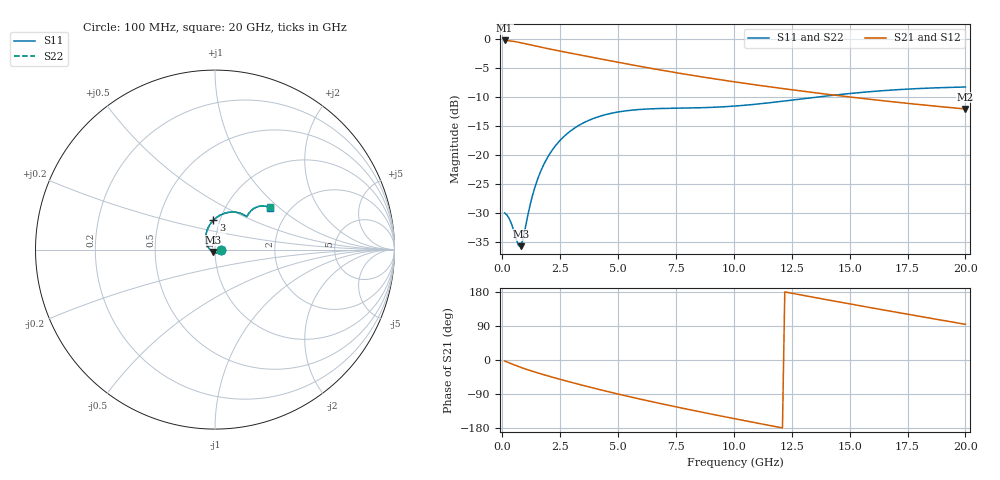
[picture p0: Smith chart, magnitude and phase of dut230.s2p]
! Touchstone file exported from HFSS 2023.1.0
!  File:  D:/Users/fzz/RDL_TSV/temp_RDL_TSV_230_1778758488.aedt
!  Generated:  7:47:11 %x4E0B%x5348  5%x6708 14, 2026
!  Design:  RDL_TSV
!  Project:  temp_RDL_TSV_230_1778758488
!  Setup:  Setup1
!  Solution:  Sweep
! Variables:
!  dtsv = 24.09um
!  hbump = 3um
!  htsv = 74.01um
!  ldown = 456.7um
!  lrdl = 392.26um
!  p = 40
!  p1 = 55.41um
!  rhole = 10um
!  subl = 2939.14um
!  t = 450um
!  tdown = 2.1um
!  trdl = 3.58um
!  viad = 10um
!  wdown = 12.7um
!  wrdl = 10.05um
!  xbump = 18um
# GHz S MA R 50.000000
! Terminal data exported
! Port[1] = TM1_1_T1
! Port[2] = TM1_4_T1
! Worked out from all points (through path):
!   200 points, 100 MHz to 20 GHz, reference 50 ohm
!   highest |S21| = -0.29 dB at 100 MHz (marker M1); lowest = -12.1 dB at 20 GHz (marker M2)
!   group delay of S21, straight-line fit = 35 ps
!   lowest |S11| = -35.7 dB at 800 MHz (marker M3), VSWR 1.03, Z = 49.1 - j1.34 ohm
!   |S11| at or under -10 dB: start of sweep to 13.67 GHz
!   |S22| runs from -35.7 to -8.3 dB; largest |S21 - S12| = 2.6e-13
!   S11 on the Smith chart (normalised r, x): 100 MHz: 1.06, -0.01; 3 GHz: 0.93, +0.31; 20 GHz: 1.59, +0.87
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0.1  0.03173 -8.5  0.9669 -2.6  0.9669 -2.6  0.03173 -8.5
! Gamma 0 0 0 0
! Port Impedance 50 0 50 0
0.3  0.02838 -27.7  0.96 -7.6  0.96 -7.6  0.02838 -27.7
0.4  0.0255 -39.2  0.9546 -10.1  0.9546 -10.1  0.0255 -39.2
0.7  0.0166 -95.0  0.9327 -17.1  0.9327 -17.1  0.01659 -95.1
0.8  0.01645 -123.6  0.9241 -19.4  0.9241 -19.4  0.01644 -123.8
0.9  0.01907 -150.3  0.9152 -21.5  0.9152 -21.5  0.01908 -150.4
1.3  0.04451 155.4  0.8787 -29.7  0.8787 -29.7  0.04456 155.3
1.7  0.07571 132.1  0.844 -37.2  0.844 -37.2  0.07579 132.0
2  0.09871 120.1  0.8199 -42.5  0.8199 -42.5  0.09881 120.0
2.3  0.1204 110.4  0.7972 -47.7  0.7972 -47.7  0.1205 110.4
3  0.1641 93.0  0.7485 -59.3  0.7485 -59.3  0.1642 92.9
3.5  0.1889 83.4  0.716 -67.3  0.716 -67.3  0.189 83.3
4.3  0.2181 71.2  0.6672 -79.5  0.6672 -79.5  0.2182 71.2
5.2  0.2379 61.2  0.6169 -92.7  0.6169 -92.7  0.238 61.2
6.8  0.2512 50.4  0.5398 -114.5  0.5398 -114.5  0.2512 50.4
8.4  0.2546 46.4  0.4774 -135.0  0.4774 -135.0  0.2546 46.5
10.1  0.2643 46.4  0.4239 -155.7  0.4239 -155.7  0.2643 46.5
11.6  0.2824 47.1  0.3848 -173.4  0.3848 -173.4  0.2825 47.2
13.4  0.3117 46.7  0.3454 166.0  0.3454 166.0  0.312 46.8
15  0.3379 44.9  0.3159 148.1  0.3159 148.1  0.3385 45.1
16.7  0.3608 42.3  0.2892 129.5  0.2892 129.5  0.3615 42.4
20  0.3845 37.4  0.249 94.2  0.249 94.2  0.3855 37.5
